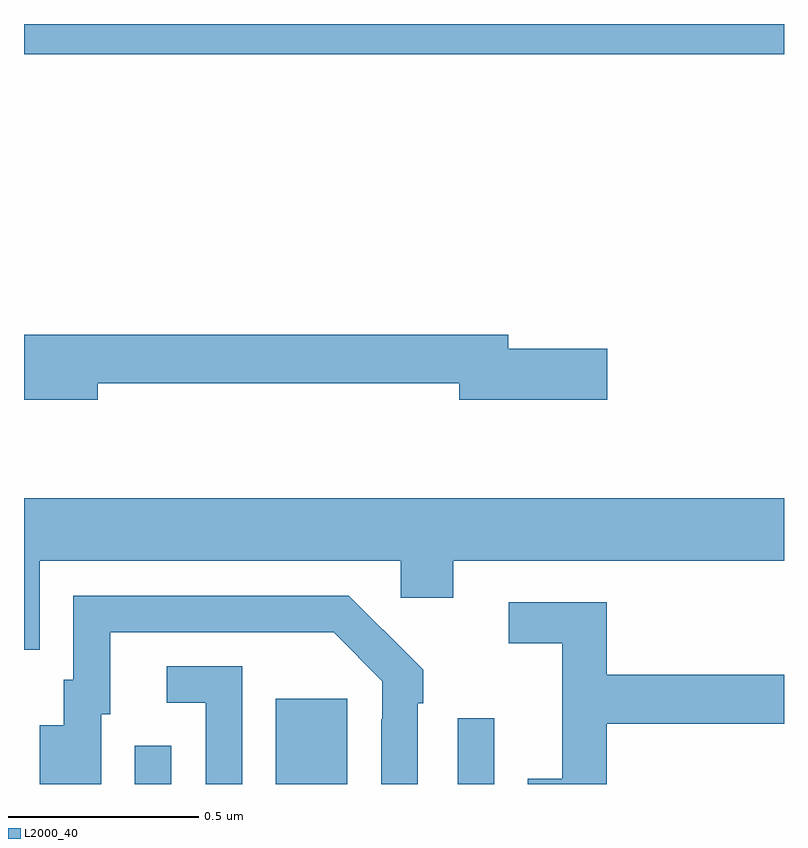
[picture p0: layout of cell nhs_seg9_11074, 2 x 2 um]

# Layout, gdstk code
import gdstk
lib = gdstk.Library(unit=1e-6, precision=1e-09)
def R(c, l, rs):  # rectangles x0, y0, x1, y1
    for r in rs: c.add(gdstk.rectangle(r[:2], r[2:], *l))
def P(c, l, *ps):  # polygons
    for p in ps: c.add(gdstk.Polygon(p, *l))
L2000_40 = (2000, 40)

nhs_seg9_11074 = lib.new_cell('nhs_seg9_11074')
R(nhs_seg9_11074, L2000_40, [(251.292,1194.5,251.388,1194.601), (251.663,1194.5,251.851,1194.724), (252.141,1194.5,252.237,1194.673), (251,1196.42,253,1196.5)])
P(nhs_seg9_11074, L2000_40, [(251.194,1195.554),(252.146,1195.554),(252.146,1195.511),(252.535,1195.511),(252.535,1195.646),(252.274,1195.646),(252.274,1195.682),(251,1195.682),(251,1195.511),(251.194,1195.511)],
  [(251.041,1195.088),(251.991,1195.088),(251.991,1194.99),(252.13,1194.99),(252.13,1195.088),(253,1195.088),(253,1195.252),(251,1195.252),(251,1194.853),(251.041,1194.853)],
  [(251.203,1194.684),(251.227,1194.684),(251.227,1194.9),(251.815,1194.9),(251.943,1194.771),(251.943,1194.671),(251.94,1194.671),(251.94,1194.5),(252.036,1194.5),(252.036,1194.713),(252.051,1194.713),(252.051,1194.801),(251.946,1194.906),(251.945,1194.905),(251.854,1194.996),(251.13,1194.996),(251.13,1194.774),(251.105,1194.774),(251.105,1194.655),(251.042,1194.655),(251.042,1194.5),(251.203,1194.5)],
  [(252.533,1194.658),(253,1194.658),(253,1194.787),(252.533,1194.787),(252.533,1194.978),(252.276,1194.978),(252.276,1194.87),(252.416,1194.87),(252.416,1194.514),(252.326,1194.514),(252.326,1194.5),(252.533,1194.5)],
  [(251.574,1194.81),(251.376,1194.81),(251.376,1194.714),(251.478,1194.714),(251.478,1194.5),(251.574,1194.5)])

lib.write_gds('nhs_seg9_11074.gds')
